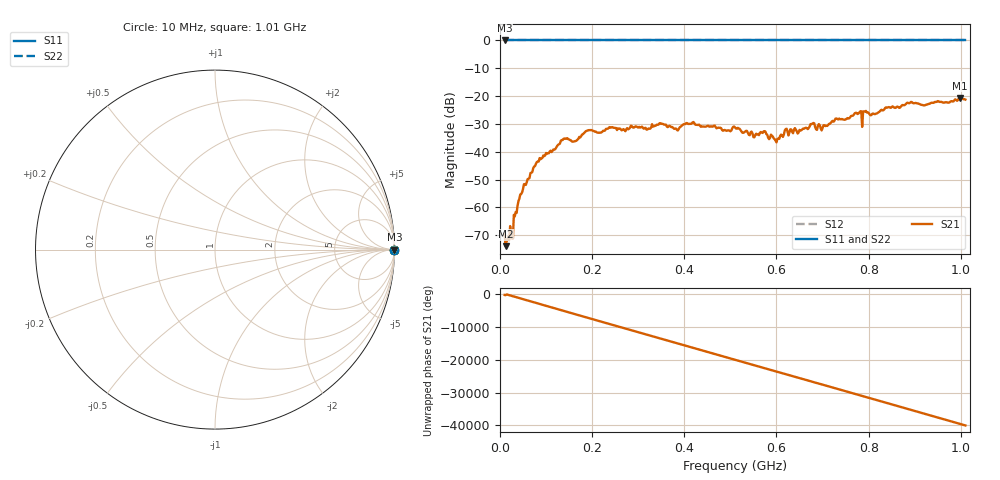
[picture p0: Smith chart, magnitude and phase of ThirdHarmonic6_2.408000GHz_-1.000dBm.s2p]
! 8/17/2025 4:01:20 AM
! C:\ANRITSUVNA\TEMP\TEMP.S2P
! CHANNEL.1
! TR.MEASUREMENT
! RAW.DATA
! RF.CORRECTION.OFF
! AVERAGING.OFF
! IF.BANDWIDTH: 5KHZ
! SWEEPTYPE:  FREQ.SWEEP(Linear)
! Reference Plane Port Info
! PORT:  PORT1  PORT2
! DISTANCE:  0  m  0  m
! TIME:  0  s  0  s
! PHASE.OFFSET:  0  deg.  0  deg.
! LOSS:  0  dB  0  dB
! REF.LOSS:  0  dB  0  dB
! REF.FREQ:  0  Hz  0  Hz
! Power Info
! POWER:  -20  dBm  -20  dBm
! EFF.POWER:  -20  dBm  -20  dBm
! SOURCE.ATTEN:  0  dB  0  dB
! TEST.ATTEN:  0  dB  0  dB
# GHZ S RI R 50.0
! FREQ.GHZ  S11RE  S11IM  S21RE  S21IM  S12RE  S12IM  S22RE  S22IM
!; PortSelection: Port_12
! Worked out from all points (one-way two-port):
!   501 points, 10 MHz to 1.01 GHz, reference 50 ohm
!   highest |S21| = -20.68 dB at 998 MHz (marker M1); lowest = -74.0 dB at 12 MHz (marker M2)
!   lowest |S11| = 0.0 dB at 10 MHz (marker M3)
!   |S11| at or under -10 dB: nowhere
!   |S22| runs from 0.0 to 0.0 dB; largest |S21 - S12| = 1.1
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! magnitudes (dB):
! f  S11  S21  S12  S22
! 10 MHz  0.0  -69.4  0.0  0.0
! 12 MHz  0.0  -74.0  0.0  0.0
! 24 MHz  0.0  -69.2  0.0  0.0
! 34 MHz  0.0  -61.7  0.0  0.0
! 48 MHz  0.0  -54.6  0.0  0.0
! 82 MHz  0.0  -43.5  0.0  0.0
! 136 MHz  0.0  -35.8  0.0  0.0
! 162 MHz  0.0  -36.2  0.0  0.0
! 178 MHz  0.0  -33.8  0.0  0.0
! 344 MHz  0.0  -30.2  0.0  0.0
! 382 MHz  0.0  -31.7  0.0  0.0
! 418 MHz  0.0  -29.5  0.0  0.0
! 510 MHz  0.0  -31.3  0.0  0.0
! 600 MHz  0.0  -36.7  0.0  0.0
! 620 MHz  0.0  -31.9  0.0  0.0
! 650 MHz  0.0  -32.2  0.0  0.0
! 678 MHz  0.0  -29.9  0.0  0.0
! 700 MHz  0.0  -31.5  0.0  0.0
! 732 MHz  0.0  -28.2  0.0  0.0
! 844 MHz  0.0  -23.9  0.0  0.0
! 998 MHz  0.0  -20.7  0.0  0.0
! 1.01 GHz  0.0  -21.3  0.0  0.0
